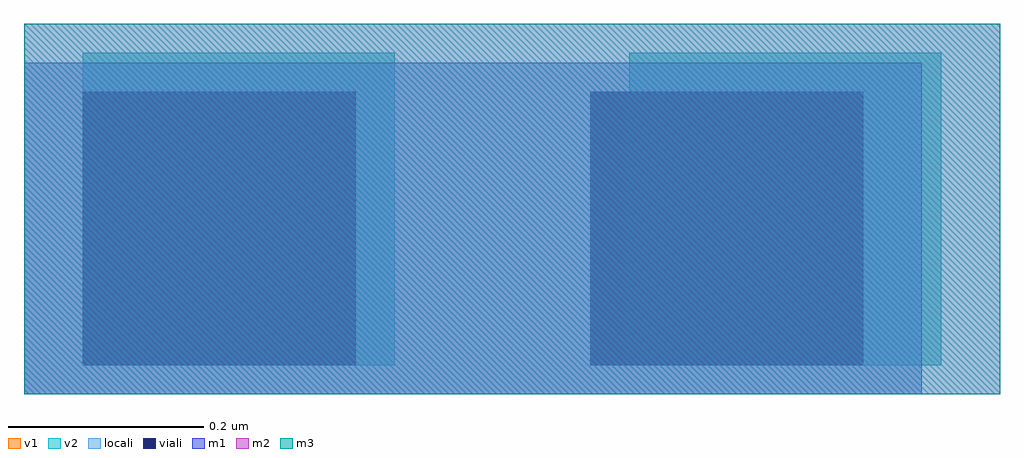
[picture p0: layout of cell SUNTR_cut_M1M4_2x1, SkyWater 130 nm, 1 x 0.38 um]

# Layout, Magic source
magic
tech sky130B
magscale 1 2
<< locali >>
rect 0 0 184 68
<< viali >>
rect 12 6 68 62
rect 116 6 172 62
<< m1 >>
rect 0 0 184 68
<< v1 >>
rect 12 6 68 62
rect 116 6 172 62
<< m2 >>
rect 0 0 200 76
<< v2 >>
rect 12 6 76 70
rect 124 6 188 70
<< m3 >>
rect 0 0 200 76
<< labels >>
<< properties >>
string FIXED_BBOX 0 0 200 76
<< end >>
